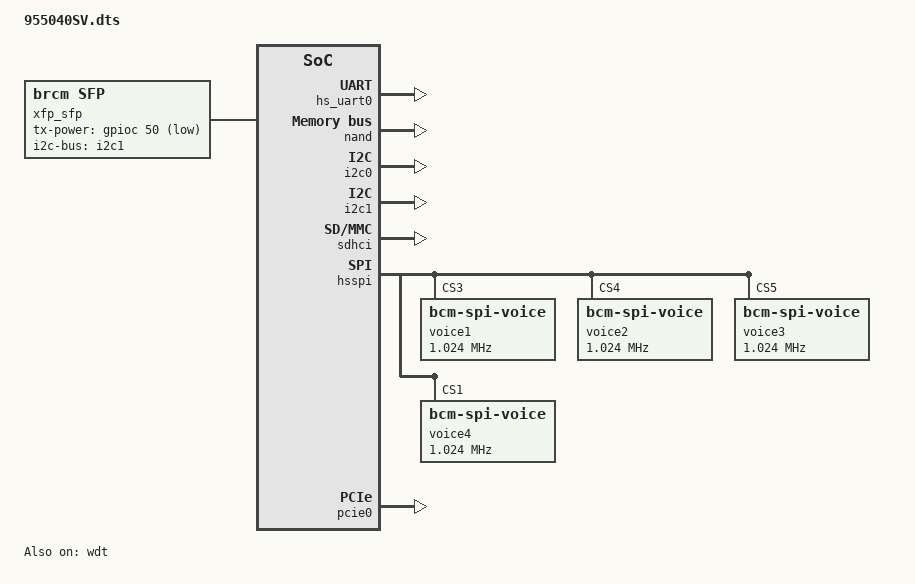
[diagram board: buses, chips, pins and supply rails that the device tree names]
#include "inc/55040.dtsi"

/ {
    xfp_sfp: xfp_sfp {
        pinctrl-names = "tx-sd";
        pinctrl-0 = <&a_rogue_onu_in_pin_56>;
        compatible = "brcm,sfp";
        i2c-bus = <&i2c1>;
        tx-power-gpio = <&gpioc 50 GPIO_ACTIVE_LOW>;
    };

    wan_serdes {
            compatible = "brcm,pon-drv";
            trx = <&xfp_sfp>;
            pon-led = <&led8>;
            alarm-led = <&led5>;
    };
};

&hs_uart0 {
    pinctrl-0 = <&b_uart2_sin_pin_16 &b_uart2_sout_pin_17 &b_uart2_cts_pin_18 &b_uart2_rts_pin_19>;
	status = "okay";
};

&mdio_lport {
        lportphy5:5 {
                status = "okay";
        };
};

&switch0 {
        pinctrl-names = "default", "rgmii3";
        pinctrl-0 = <&lport_m_mdc_pin_98 &lport_m_mdio_pin_99 &rgmii3_pins>;
        pinctrl-1 = <&rgmii3_pins>;

        ports {
                port_rgmii_4@4 {
                        reg = <4>;
                        mac-type = "LPORT";
                        phy-handle = <&lportphy5>;
                        phy-mode = "rgmii";
                        tx-delay;
                        mii-pinctrl-state = "rgmii3";
                        status = "okay";
                };
        };
};

&led_ctrl {
    pinctrl-names = "default";
    pinctrl-0 = <&b_ser_led_clk_pin_30 &b_ser_led_data_pin_29 &b_ser_led_mask_pin_31>;
    serial-shifters-installed = <3>;

    led0: sw_led-bit_0 {
              active_low; 
              brightness = <0>;
              flash_rate = <0>;
              status = "okay";
          };
    led1: sw_led-bit_1 {
              active_low; 
              brightness = <0>;
              flash_rate = <0>;
              status = "okay";
          };
    led2: sw_led-bit_2 {
              active_low; 
              brightness = <255>;
              flash_rate = <0>;
              status = "okay";
              label = "WAN";
          };
    led3: sw_led-bit_3 {
              active_low; 
              brightness = <0>;
              flash_rate = <0>;
              status = "okay";
          };
    led4: sw_led-bit_4 {
              active_low; 
              brightness = <0>;
              flash_rate = <0>;
              status = "okay";
          };
    led5: sw_led-bit_5 {
              active_low; 
              brightness = <255>;
              flash_rate = <0>;
              status = "okay";
              label = "OpticalLinkFail";
          };
    led6: sw_led-bit_6 {
              active_low; 
              brightness = <0>;
              flash_rate = <0>;
              status = "okay";
          };
    led7: sw_led-bit_7 {
              active_low; 
              brightness = <0>;
              flash_rate = <0>;
              status = "okay";
          };

    led8: sw_led-bit_8 {
              active_low; 
              brightness = <255>;
              flash_rate = <0>;
              status = "okay";
              label = "PON";
          };
};

&legacy_leds {
    wan-data-led = <&led2>;
};

&nand {
	status = "okay";
};
&wdt {
	status = "okay";
};
&i2c0 {
    status = "okay";
};
&i2c1 {
    pinctrl-0 = <&i2c_2_scl_pin_23 &i2c_2_sda_pin_24>;
    pinctrl-names = "default";
    status = "okay";
};

&sdhci {
	status = "okay";
};
&hsspi {
	status = "okay";

    voice1 {
        pinctrl-0 = <&spim_ss1_b_pin_106>;
        pinctrl-names = "default";
        compatible = "bcm-spi-voice";
        reg = <3>; /* chip select 3 */
        spi-max-frequency = <1024000>;
    };

    voice2 {
        pinctrl-0 = <&c_spim_ss2_b_pin_51>;
        pinctrl-names = "default";
        compatible = "bcm-spi-voice";
        reg = <4>; /* chip select 4 */
        spi-max-frequency = <1024000>;
    };

    voice3 {
        compatible = "bcm-spi-voice";
        reg = <5>; /* chip select 5 */
        spi-max-frequency = <1024000>;
    };

    voice4 {
        compatible = "bcm-spi-voice";
        reg = <1>; /* chip select 1 */
        spi-max-frequency = <1024000>;
    };

    voice7 {
        pinctrl-0 = <&a_pcm_sdin_pin_0 &a_pcm_sdout_pin_1 &a_pcm_clk_pin_2 &a_pcm_fs_pin_3>;
        pinctrl-names = "default";
    };
};

&pcie0 {
	status = "okay";
};

